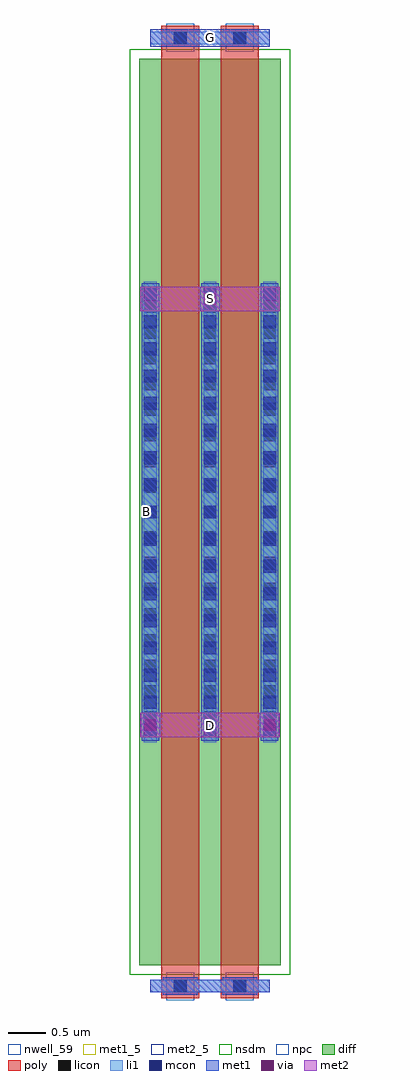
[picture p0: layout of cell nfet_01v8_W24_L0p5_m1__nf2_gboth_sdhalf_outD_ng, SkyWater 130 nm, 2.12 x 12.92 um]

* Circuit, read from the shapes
.subckt nfet_01v8_W24_L0p5_m1__nf2_gboth_sdhalf_outD_ng B D G S
XM1 S G D B sky130_fd_pr__nfet_01v8 w=12 l=0.5 m=2
.ends

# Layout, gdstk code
import gdstk
lib = gdstk.Library(unit=1e-6, precision=1e-09)
def R(c, l, rs):  # rectangles x0, y0, x1, y1
    for r in rs: c.add(gdstk.rectangle(r[:2], r[2:], *l))
def A(c, l, x, y, w, h, nx, ny, dx, dy):  # array of equal rectangles
    R(c, l, [(x+i*dx, y+j*dy, x+i*dx+w, y+j*dy+h) for i in range(nx) for j in range(ny)])
nwell_59 = (64, 59)
diff = (65, 20)
poly = (66, 20)
licon = (66, 44)
li1 = (67, 20)
mcon = (67, 44)
met1_5 = (68, 5)
met1 = (68, 20)
via = (68, 44)
met2_5 = (69, 5)
met2 = (69, 20)
nsdm = (93, 44)
npc = (95, 20)

sky130_fd_pr__nfet_01v8_ = lib.new_cell('sky130_fd_pr__nfet_01v8_HXB8EP')
R(sky130_fd_pr__nfet_01v8_, diff, [(-0.935,-6,0.935,6)])
R(sky130_fd_pr__nfet_01v8_, poly, [(-0.645,-6.44,-0.145,6.44), (0.145,-6.44,0.645,6.44)])
A(sky130_fd_pr__nfet_01v8_, licon, -0.875, -2.805, 0.17, 0.17, 3, 17, 0.79, 0.34)
R(sky130_fd_pr__nfet_01v8_, licon, [(-0.48,-6.36,-0.31,-6.19), (0.31,-6.36,0.48,-6.19), (-0.48,6.19,-0.31,6.36), (0.31,6.19,0.48,6.36)])
A(sky130_fd_pr__nfet_01v8_, li1, -0.875, -3.05, 0.17, 6.1, 3, 1, 0.79, 0)
R(sky130_fd_pr__nfet_01v8_, li1, [(-0.79,-6.36,0.79,-6.19), (-0.79,6.19,0.79,6.36)])
A(sky130_fd_pr__nfet_01v8_, mcon, -0.875, -2.965, 0.17, 0.17, 3, 17, 0.79, 0.36)
R(sky130_fd_pr__nfet_01v8_, mcon, [(-0.48,-6.36,-0.31,-6.19), (0.31,-6.36,0.48,-6.19), (-0.48,6.19,-0.31,6.36), (0.31,6.19,0.48,6.36)])
A(sky130_fd_pr__nfet_01v8_, met1, -0.905, -3.03, 0.23, 6.06, 3, 1, 0.79, 0)
R(sky130_fd_pr__nfet_01v8_, met1, [(-0.625,-6.39,-0.165,-6.36), (0.165,-6.39,0.625,-6.36), (-0.79,-6.36,0.79,-6.19), (-0.625,-6.19,-0.165,-6.16), (0.165,-6.19,0.625,-6.16), (-0.625,6.16,-0.165,6.19), (0.165,6.16,0.625,6.19), (-0.79,6.19,0.79,6.36), (-0.625,6.36,-0.165,6.39), (0.165,6.36,0.625,6.39)])
R(sky130_fd_pr__nfet_01v8_, nsdm, [(-1.06,-6.125,1.06,6.125)])
R(sky130_fd_pr__nfet_01v8_, npc, [(-0.58,-6.46,-0.21,-6.09), (0.21,-6.46,0.58,-6.09), (-0.58,6.09,-0.21,6.46), (0.21,6.09,0.58,6.46)])
sky130_fd_pr__nfet_01v8_.add(gdstk.Label('D0', (-0.79,0), layer=67, texttype=5))
sky130_fd_pr__nfet_01v8_.add(gdstk.Label('G', (0.395,6.275), layer=67, texttype=5))
sky130_fd_pr__nfet_01v8_.add(gdstk.Label('G', (-0.395,6.275), layer=67, texttype=5))
sky130_fd_pr__nfet_01v8_.add(gdstk.Label('S1', (0,0), layer=67, texttype=5))

nfet_01v8_w24_l0p5_m1__n = lib.new_cell('nfet_01v8_W24_L0p5_m1__nf2_gboth_sdhalf_outD_ng')
R(nfet_01v8_w24_l0p5_m1__n, nwell_59, [(0.05,6.39,0.15,6.49)])
R(nfet_01v8_w24_l0p5_m1__n, met1_5, [(0.145,12.6,1.725,12.83)])
R(nfet_01v8_w24_l0p5_m1__n, met1, [(0.015,3.46,0.275,3.78), (1.595,3.46,1.855,3.78), (0.805,9.1,1.065,9.42), (0.145,12.6,1.725,12.83)])
R(nfet_01v8_w24_l0p5_m1__n, via, [(0.07,3.545,0.22,3.695), (1.65,3.545,1.8,3.695), (0.86,9.185,1.01,9.335)])
R(nfet_01v8_w24_l0p5_m1__n, met2_5, [(0.01,3.46,1.86,3.78), (0.01,9.1,1.86,9.42)])
R(nfet_01v8_w24_l0p5_m1__n, met2, [(0.01,3.46,1.86,3.78), (0.01,9.1,1.86,9.42)])
nfet_01v8_w24_l0p5_m1__n.add(gdstk.Reference(sky130_fd_pr__nfet_01v8_, (0.935,6.44)))
nfet_01v8_w24_l0p5_m1__n.add(gdstk.Label('S', (0.935,9.26), layer=69, texttype=5))
nfet_01v8_w24_l0p5_m1__n.add(gdstk.Label('D', (0.935,3.62), layer=69, texttype=5))
nfet_01v8_w24_l0p5_m1__n.add(gdstk.Label('G', (0.935,12.715), layer=68, texttype=5))
nfet_01v8_w24_l0p5_m1__n.add(gdstk.Label('B', (0.1,6.44), layer=64, texttype=59))

lib.write_gds('nfet_01v8_W24_L0p5_m1__nf2_gboth_sdhalf_outD_ng.gds')
